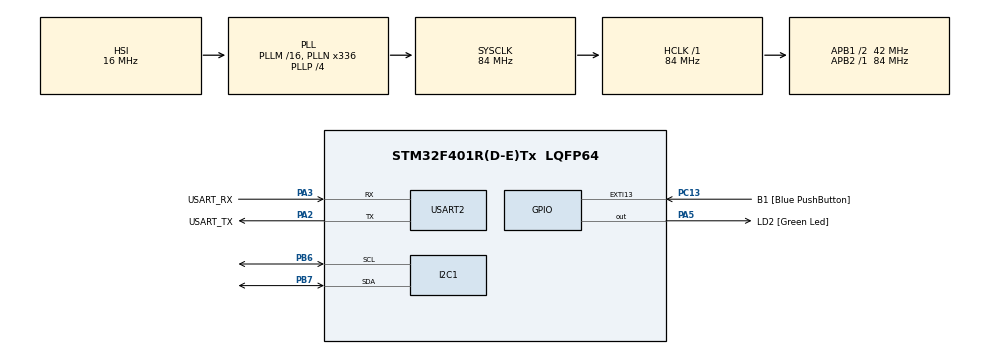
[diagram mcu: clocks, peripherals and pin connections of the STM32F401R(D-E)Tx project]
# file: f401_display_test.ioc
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Mcu.Family=STM32F4
Mcu.Name=STM32F401R(D-E)Tx
Mcu.Package=LQFP64
NVIC.PriorityGroup=NVIC_PRIORITYGROUP_0
PA13.GPIO_Label=TMS
PA13.Mode=Serial_Wire
PA13.Signal=SYS_JTMS-SWDIO
PA14.GPIO_Label=TCK
PA14.Mode=Serial_Wire
PA14.Signal=SYS_JTCK-SWCLK
PA2.GPIO_Label=USART_TX
PA2.GPIO_Mode=GPIO_MODE_AF_PP
PA2.GPIO_PuPd=GPIO_NOPULL
PA2.GPIO_Speed=GPIO_SPEED_FREQ_LOW
PA2.Mode=Asynchronous
PA2.Signal=USART2_TX
PA3.GPIO_Label=USART_RX
PA3.GPIO_Mode=GPIO_MODE_AF_PP
PA3.GPIO_PuPd=GPIO_NOPULL
PA3.GPIO_Speed=GPIO_SPEED_FREQ_LOW
PA3.Mode=Asynchronous
PA3.Signal=USART2_RX
PA5.GPIO_Label=LD2 [Green Led]
PA5.GPIO_Mode=GPIO_MODE_OUTPUT_PP
PA5.GPIO_PuPd=GPIO_NOPULL
PA5.GPIO_Speed=GPIO_SPEED_FREQ_LOW
PA5.Signal=GPIO_Output
PB3.GPIO_Label=SWO
PB3.Signal=SYS_JTDO-SWO
PB6.GPIO_Pu=GPIO_PULLUP
PB6.Mode=I2C
PB6.Signal=I2C1_SCL
PB7.GPIO_Pu=GPIO_PULLUP
PB7.Mode=I2C
PB7.Signal=I2C1_SDA
PC13-ANTI_TAMP.GPIO_Label=B1 [Blue PushButton]
PC13-ANTI_TAMP.GPIO_ModeDefaultEXTI=GPIO_MODE_IT_FALLING
PC13-ANTI_TAMP.GPIO_PuPd=GPIO_NOPULL
PC13-ANTI_TAMP.Signal=GPXTI13
PC14-OSC32_IN.Mode=LSE-External-Oscillator
PC14-OSC32_IN.Signal=RCC_OSC32_IN
PC15-OSC32_OUT.Mode=LSE-External-Oscillator
PC15-OSC32_OUT.Signal=RCC_OSC32_OUT
PH0\ -\ OSC_IN.Mode=HSE-External-Clock-Source
PH0\ -\ OSC_IN.Signal=RCC_OSC_IN
PH1\ -\ OSC_OUT.Mode=HSE-External-Clock-Source
PH1\ -\ OSC_OUT.Signal=RCC_OSC_OUT
ProjectManager.HeapSize=0x200
ProjectManager.StackSize=0x400
ProjectManager.TargetToolchain=Makefile
RCC.48MHZClocksFreq_Value=48000000
RCC.AHBFreq_Value=84000000
RCC.APB1CLKDivider=RCC_HCLK_DIV2
RCC.APB1Freq_Value=42000000
RCC.APB1TimFreq_Value=84000000
RCC.APB2Freq_Value=84000000
RCC.APB2TimFreq_Value=84000000
RCC.CortexFreq_Value=84000000
RCC.HCLKFreq_Value=84000000
RCC.HSE_VALUE=8000000
RCC.HSI_VALUE=16000000
RCC.PLLN=336
RCC.PLLP=RCC_PLLP_DIV4
RCC.PLLQ=7
RCC.SYSCLKFreq_VALUE=84000000
RCC.SYSCLKSource=RCC_SYSCLKSOURCE_PLLCLK
RCC.VCOOutputFreq_Value=336000000
USART2.VirtualMode=VM_ASYNC
board=NUCLEO-F401RE

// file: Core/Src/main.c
/* USER CODE BEGIN Header */
/**
  ******************************************************************************
  * @file           : main.c
  * @brief          : Main program body
  ******************************************************************************
  * @attention
  *
  * Copyright (c) 2024 STMicroelectronics.
  * All rights reserved.
  *
  * This software is licensed under terms that can be found in the LICENSE file
  * in the root directory of this software component.
  * If no LICENSE file comes with this software, it is provided AS-IS.
  *
  ******************************************************************************
  */
/* USER CODE END Header */
#include "main.h"

/* USER CODE BEGIN Includes */
#include "ssd1306.h"
#include "fonts.h"
#include "display.h"
#include "filemanager.h"
#include "audio.h"
/* USER CODE END Includes */

I2C_HandleTypeDef hi2c1;

UART_HandleTypeDef huart2;

void SystemClock_Config(void);
static void MX_GPIO_Init(void);
static void MX_USART2_UART_Init(void);
static void MX_I2C1_Init(void);

int main(void)
{

  /* MCU Configuration--------------------------------------------------------*/

  /* Reset of all peripherals, Initializes the Flash interface and the Systick. */
  HAL_Init();

  /* Configure the system clock */
  SystemClock_Config();

  /* Initialize all configured peripherals */
  MX_GPIO_Init();
  MX_USART2_UART_Init();
  MX_I2C1_Init();
  /* USER CODE BEGIN 2 */

  // Init lcd using one of the stm32HAL i2c typedefs
  if (ssd1306_Init(&hi2c1) != 0) {
    Error_Handler();
  }
  HAL_Delay(1000);

  ssd1306_Fill(Black);
  ssd1306_UpdateScreen(&hi2c1);

  HAL_Delay(1000);

  // Filemanager
  FileManager fm;
  initializeFileManager(&fm);

  // Adding some dummy files
  addFile(&fm, "fart1.wav");
  addFile(&fm, "fart2.wav");
  addFile(&fm, "fart3.wav");
  addFile(&fm, "fart4.wav");
  addFile(&fm, "fart5.wav");
  addFile(&fm, "fart6.wav");
  addFile(&fm, "fart7.wav");
  addFile(&fm, "fart8.wav");
  addFile(&fm, "fart9.wav");
  addFile(&fm, "fart10.wav");
  addFile(&fm, "fart11.wav");
  addFile(&fm, "fart12.wav");

  // uint32_t num_samples = 2000;
  // int16_t samples[num_samples];
  // generateWaveform(samples, num_samples);
  // drawWaveform(&hi2c1,samples, num_samples);
  /* USER CODE END 2 */
  /* Infinite loop */
  /* USER CODE BEGIN WHILE */
  while (1)
  {
    HAL_Delay(300);
    selectFile(&fm);
    // Displaying the files
    char *filenames[MAX_FILES];
    for (int i = 0; i < fm.num_files; i++) {
        filenames[i] = fm.files[i].filename; // Extracting filenames from File structures
    }
    char *currentFileName = fm.files[fm.current_file_index].filename;
    displayStrings(&hi2c1, filenames, fm.num_files, fm.cursor_index);
    renderSelectedFile(&hi2c1, currentFileName);
    // Update display
    ssd1306_UpdateScreen(&hi2c1);

    cursorUp(&fm);
    /* USER CODE END WHILE */
  }
}

void SystemClock_Config(void)
{
  RCC_OscInitTypeDef RCC_OscInitStruct = {0};
  RCC_ClkInitTypeDef RCC_ClkInitStruct = {0};

  /** Configure the main internal regulator output voltage
  */
  __HAL_RCC_PWR_CLK_ENABLE();
  __HAL_PWR_VOLTAGESCALING_CONFIG(PWR_REGULATOR_VOLTAGE_SCALE2);

  /** Initializes the RCC Oscillators according to the specified parameters
  * in the RCC_OscInitTypeDef structure.
  */
  RCC_OscInitStruct.OscillatorType = RCC_OSCILLATORTYPE_HSI;
  RCC_OscInitStruct.HSIState = RCC_HSI_ON;
  RCC_OscInitStruct.HSICalibrationValue = RCC_HSICALIBRATION_DEFAULT;
  RCC_OscInitStruct.PLL.PLLState = RCC_PLL_ON;
  RCC_OscInitStruct.PLL.PLLSource = RCC_PLLSOURCE_HSI;
  RCC_OscInitStruct.PLL.PLLM = 16;
  RCC_OscInitStruct.PLL.PLLN = 336;
  RCC_OscInitStruct.PLL.PLLP = RCC_PLLP_DIV4;
  RCC_OscInitStruct.PLL.PLLQ = 7;
  if (HAL_RCC_OscConfig(&RCC_OscInitStruct) != HAL_OK)
  {
    Error_Handler();
  }

  /** Initializes the CPU, AHB and APB buses clocks
  */
  RCC_ClkInitStruct.ClockType = RCC_CLOCKTYPE_HCLK|RCC_CLOCKTYPE_SYSCLK
                              |RCC_CLOCKTYPE_PCLK1|RCC_CLOCKTYPE_PCLK2;
  RCC_ClkInitStruct.SYSCLKSource = RCC_SYSCLKSOURCE_PLLCLK;
  RCC_ClkInitStruct.AHBCLKDivider = RCC_SYSCLK_DIV1;
  RCC_ClkInitStruct.APB1CLKDivider = RCC_HCLK_DIV2;
  RCC_ClkInitStruct.APB2CLKDivider = RCC_HCLK_DIV1;

  if (HAL_RCC_ClockConfig(&RCC_ClkInitStruct, FLASH_LATENCY_2) != HAL_OK)
  {
    Error_Handler();
  }
}

static void MX_I2C1_Init(void)
{

  hi2c1.Instance = I2C1;
  hi2c1.Init.ClockSpeed = 100000;
  hi2c1.Init.DutyCycle = I2C_DUTYCYCLE_2;
  hi2c1.Init.OwnAddress1 = 0;
  hi2c1.Init.AddressingMode = I2C_ADDRESSINGMODE_7BIT;
  hi2c1.Init.DualAddressMode = I2C_DUALADDRESS_DISABLE;
  hi2c1.Init.OwnAddress2 = 0;
  hi2c1.Init.GeneralCallMode = I2C_GENERALCALL_DISABLE;
  hi2c1.Init.NoStretchMode = I2C_NOSTRETCH_DISABLE;
  if (HAL_I2C_Init(&hi2c1) != HAL_OK)
  {
    Error_Handler();
  }

}

static void MX_USART2_UART_Init(void)
{

  huart2.Instance = USART2;
  huart2.Init.BaudRate = 115200;
  huart2.Init.WordLength = UART_WORDLENGTH_8B;
  huart2.Init.StopBits = UART_STOPBITS_1;
  huart2.Init.Parity = UART_PARITY_NONE;
  huart2.Init.Mode = UART_MODE_TX_RX;
  huart2.Init.HwFlowCtl = UART_HWCONTROL_NONE;
  huart2.Init.OverSampling = UART_OVERSAMPLING_16;
  if (HAL_UART_Init(&huart2) != HAL_OK)
  {
    Error_Handler();
  }

}

static void MX_GPIO_Init(void)
{
  GPIO_InitTypeDef GPIO_InitStruct = {0};

  /* GPIO Ports Clock Enable */
  __HAL_RCC_GPIOC_CLK_ENABLE();
  __HAL_RCC_GPIOH_CLK_ENABLE();
  __HAL_RCC_GPIOA_CLK_ENABLE();
  __HAL_RCC_GPIOB_CLK_ENABLE();

  /*Configure GPIO pin Output Level */
  HAL_GPIO_WritePin(LD2_GPIO_Port, LD2_Pin, GPIO_PIN_RESET);

  /*Configure GPIO pin : B1_Pin */
  GPIO_InitStruct.Pin = B1_Pin;
  GPIO_InitStruct.Mode = GPIO_MODE_IT_FALLING;
  GPIO_InitStruct.Pull = GPIO_NOPULL;
  HAL_GPIO_Init(B1_GPIO_Port, &GPIO_InitStruct);

  /*Configure GPIO pin : LD2_Pin */
  GPIO_InitStruct.Pin = LD2_Pin;
  GPIO_InitStruct.Mode = GPIO_MODE_OUTPUT_PP;
  GPIO_InitStruct.Pull = GPIO_NOPULL;
  GPIO_InitStruct.Speed = GPIO_SPEED_FREQ_LOW;
  HAL_GPIO_Init(LD2_GPIO_Port, &GPIO_InitStruct);

}

void Error_Handler(void)
{
  __disable_irq();
  while (1)
  {
  }
}
